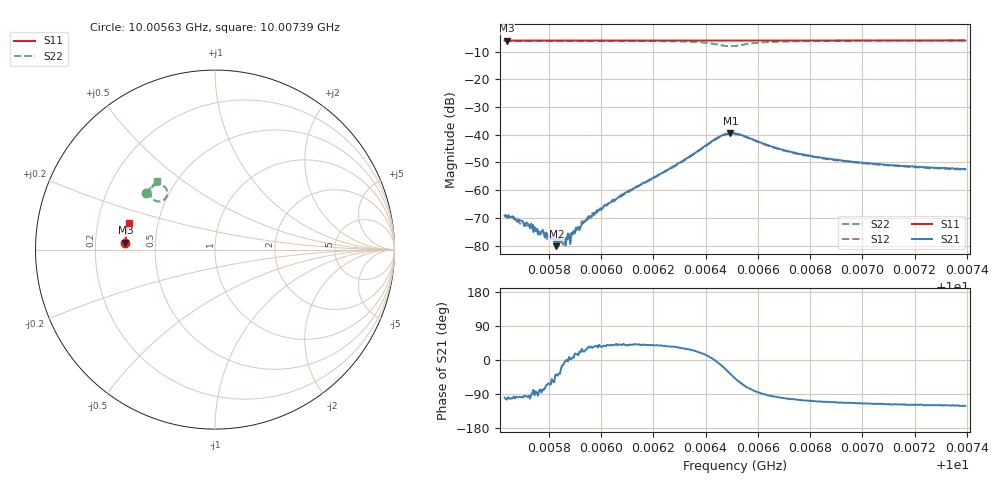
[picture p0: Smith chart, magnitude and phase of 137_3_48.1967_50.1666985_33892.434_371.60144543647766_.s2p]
#  HZ  S  RI  R  50.00
! Rohde & Schwarz Vector Network Analyzer
! Rohde-Schwarz,ZNB20-2Port,1311601062101988,3.16
! Created: UTC 3/20/2024, 11:42:10 AM
! freq[Hz]  re:S11  im:S11  re:S21  im:S21  re:S12  im:S12  re:S22  im:S22
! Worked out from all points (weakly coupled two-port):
!   401 points, 10.00563 GHz to 10.00739 GHz, reference 50 ohm
!   highest |S21| = -39.38 dB at 10.0065 GHz (marker M1); lowest = -80.2 dB at 10.00583 GHz (marker M2)
!   lowest |S11| = -6.0 dB at 10.00564 GHz (marker M3), VSWR 3.01, Z = 16.7 + j1.74 ohm
!   |S11| at or under -10 dB: nowhere
!   |S22| runs from -8.0 to -6.0 dB; largest |S21 - S12| = 0.00066
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1.0005631e10  -0.4995 0.0387  -5.54e-05 -0.000341  -4.62e-05 -0.000357  -0.3845 0.3152
1.000564e10  -0.4992 0.0391  -8.23e-05 -0.000317  -6.41e-05 -0.000331  -0.3839 0.3158
1.0005728e10  -0.499 0.0449  -4.26e-05 -0.000209  1.33e-05 -0.000207  -0.3797 0.3211
1.0005759e10  -0.4989 0.0469  -1.14e-05 -0.000159  -5.49e-06 -0.000184  -0.3781 0.3232
1.000579e10  -0.4987 0.0489  6.48e-05 -0.000159  3.52e-05 -0.000145  -0.3767 0.325
1.0005807e10  -0.4986 0.0501  5.54e-05 -0.000117  4.88e-05 -0.000133  -0.3758 0.3262
1.0005829e10  -0.4985 0.0516  7.71e-05 -5.99e-05  0.000116 -6.3e-05  -0.3744 0.3276
1.0005851e10  -0.4985 0.053  0.000118 -3e-05  0.000106 -4.57e-05  -0.3734 0.3291
1.0005856e10  -0.4984 0.0532  0.000124 -3.01e-05  9.4e-05 -4.25e-05  -0.3732 0.3292
1.0005865e10  -0.4985 0.0538  9.95e-05 -4.94e-06  0.000124 -2.39e-05  -0.3726 0.3299
1.0005873e10  -0.4984 0.0544  0.000165 -1.02e-05  0.000128 2.98e-05  -0.3721 0.3303
1.0005926e10  -0.4981 0.0579  0.000209 0.000117  0.000239 0.000138  -0.3689 0.3339
1.0005944e10  -0.498 0.0589  0.000259 0.000138  0.000244 0.000144  -0.3678 0.3351
1.0006019e10  -0.4975 0.0639  0.000423 0.000312  0.000415 0.000358  -0.3626 0.3403
1.0006222e10  -0.4961 0.0769  0.00149 0.00118  0.00141 0.00125  -0.3421 0.3558
1.0006447e10  -0.4932 0.0913  0.0089 -0.000993  0.0087 -0.000538  -0.2677 0.329
1.0006495e10  -0.4927 0.0939  0.0086 -0.00642  0.00872 -0.00583  -0.2803 0.2805
1.0006513e10  -0.4925 0.0948  0.00706 -0.00794  0.00731 -0.00735  -0.2975 0.2704
1.0006676e10  -0.4917 0.1051  -0.00078 -0.00561  -0.000555 -0.00555  -0.3601 0.3176
1.0006808e10  -0.4901 0.1138  -0.0013 -0.0039  -0.00108 -0.00388  -0.3547 0.3412
1.0007103e10  -0.4861 0.1326  -0.00129 -0.00254  -0.00112 -0.00257  -0.3378 0.3671
1.0007394e10  -0.4814 0.1508  -0.00124 -0.00206  -0.00111 -0.00205  -0.3222 0.384
